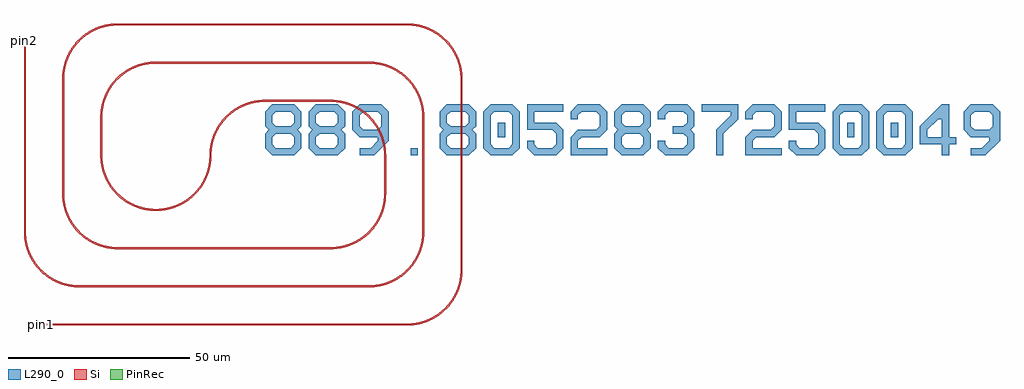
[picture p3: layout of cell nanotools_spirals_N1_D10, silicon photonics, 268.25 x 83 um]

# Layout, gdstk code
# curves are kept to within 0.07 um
import gdstk
lib = gdstk.Library(unit=1e-6, precision=1e-09)
def R(c, l, rs):  # rectangles x0, y0, x1, y1
    for r in rs: c.add(gdstk.rectangle(r[:2], r[2:], *l))
def P(c, l, *ps):  # polygons
    for p in ps: c.add(gdstk.Polygon(p, *l))
Si = (1, 0)
PinRec = (1, 10)
L290_0 = (290, 0)

nanotools_spirals_n1_d10 = lib.new_cell('nanotools_spirals_N1_D10')
R(nanotools_spirals_n1_d10, Si, [(-61.5,-46.75,39,-46.25), (-51,-36.25,28.5,-35.75), (53.75,-31.5,54.25,21), (-40.5,-25.75,18,-25.25), (-66.25,-21,-65.75,31.5), (43.25,-21,43.75,10.5), (-55.75,-10.5,-55.25,21), (32.75,-10.5,33.25,0), (-45.25,0,-44.75,10.5), (0,14.75,18,15.25), (-30,25.25,28.5,25.75), (-40.5,35.75,39,36.25)])
P(nanotools_spirals_n1_d10, Si, [(-15.25,0),(-15.178,1.483),(-14.961,2.952),(-14.603,4.394),(-14.107,5.793),(-13.477,7.138),(-12.718,8.414),(-11.84,9.612),(-10.849,10.718),(-9.755,11.722),(-8.569,12.615),(-7.138,13.477),(-5.793,14.107),(-4.394,14.603),(-2.952,14.961),(-1.483,15.178),(0,15.25),(0,14.75),(-1.613,14.662),(-3.032,14.435),(-4.592,14.017),(-6.098,13.431),(-7.219,12.863),(-8.436,12.1),(-9.435,11.338),(-10.366,10.493),(-11.222,9.573),(-12.1,8.436),(-12.863,7.219),(-13.431,6.098),(-14.017,4.592),(-14.435,3.032),(-14.662,1.613),(-14.75,0)],
  [(-30,-15.25),(-30,-14.75),(-28.387,-14.662),(-26.968,-14.435),(-25.408,-14.017),(-23.902,-13.431),(-22.781,-12.863),(-21.564,-12.1),(-20.565,-11.338),(-19.634,-10.493),(-18.778,-9.573),(-17.9,-8.436),(-17.137,-7.219),(-16.569,-6.098),(-15.983,-4.592),(-15.565,-3.032),(-15.338,-1.613),(-15.25,0),(-14.75,0),(-14.822,-1.483),(-15.039,-2.952),(-15.397,-4.394),(-15.893,-5.793),(-16.523,-7.138),(-17.282,-8.414),(-18.16,-9.612),(-19.151,-10.718),(-20.245,-11.722),(-21.431,-12.615),(-22.862,-13.477),(-24.207,-14.107),(-25.606,-14.603),(-27.048,-14.961),(-28.517,-15.178)],
  [(18,-25.75),(18,-25.25),(19.613,-25.162),(21.032,-24.935),(22.592,-24.517),(24.098,-23.931),(25.219,-23.363),(26.436,-22.6),(27.435,-21.838),(28.366,-20.993),(29.222,-20.073),(30.1,-18.936),(30.863,-17.719),(31.431,-16.598),(32.017,-15.092),(32.435,-13.532),(32.662,-12.113),(32.75,-10.5),(33.25,-10.5),(33.178,-11.983),(32.961,-13.452),(32.603,-14.894),(32.107,-16.293),(31.477,-17.638),(30.718,-18.914),(29.84,-20.112),(28.849,-21.218),(27.755,-22.222),(26.569,-23.115),(25.138,-23.977),(23.793,-24.607),(22.394,-25.103),(20.952,-25.461),(19.483,-25.678)],
  [(28.5,-36.25),(28.5,-35.75),(30.113,-35.662),(31.532,-35.435),(33.092,-35.017),(34.598,-34.431),(35.719,-33.863),(36.936,-33.1),(37.935,-32.338),(38.866,-31.493),(39.722,-30.573),(40.6,-29.436),(41.363,-28.219),(41.931,-27.098),(42.517,-25.592),(42.935,-24.032),(43.162,-22.613),(43.25,-21),(43.75,-21),(43.678,-22.483),(43.461,-23.952),(43.103,-25.394),(42.607,-26.793),(41.977,-28.138),(41.218,-29.414),(40.34,-30.612),(39.349,-31.718),(38.255,-32.722),(37.069,-33.615),(35.638,-34.477),(34.293,-35.107),(32.894,-35.603),(31.452,-35.961),(29.983,-36.178)],
  [(39,-46.75),(39,-46.25),(40.613,-46.162),(42.032,-45.935),(43.592,-45.517),(45.098,-44.931),(46.219,-44.363),(47.436,-43.6),(48.435,-42.838),(49.366,-41.993),(50.222,-41.073),(51.1,-39.936),(51.863,-38.719),(52.431,-37.598),(53.017,-36.092),(53.435,-34.532),(53.662,-33.113),(53.75,-31.5),(54.25,-31.5),(54.178,-32.983),(53.961,-34.452),(53.603,-35.894),(53.107,-37.293),(52.477,-38.638),(51.718,-39.914),(50.84,-41.112),(49.849,-42.218),(48.755,-43.222),(47.569,-44.115),(46.138,-44.977),(44.793,-45.607),(43.394,-46.103),(41.952,-46.461),(40.483,-46.678)],
  [(32.75,0),(32.68,1.435),(32.505,2.679),(32.175,4.077),(31.712,5.437),(31.118,6.744),(30.4,7.988),(29.564,9.156),(28.619,10.238),(27.573,11.222),(26.582,11.996),(25.375,12.774),(24.261,13.355),(22.762,13.96),(21.207,14.397),(19.613,14.662),(18,14.75),(18,15.25),(19.668,15.159),(21.134,14.924),(22.571,14.549),(23.964,14.035),(25.464,13.299),(26.722,12.51),(27.897,11.602),(28.979,10.585),(29.956,9.467),(30.92,8.102),(31.728,6.641),(32.372,5.099),(32.924,3.134),(33.209,1.113),(33.25,0)],
  [(43.25,10.5),(43.18,11.935),(43.005,13.179),(42.675,14.577),(42.212,15.937),(41.618,17.244),(40.9,18.488),(40.064,19.656),(39.119,20.738),(38.073,21.722),(37.082,22.496),(35.875,23.274),(34.761,23.855),(33.262,24.46),(31.707,24.897),(30.113,25.162),(28.5,25.25),(28.5,25.75),(30.168,25.659),(31.634,25.424),(33.071,25.049),(34.464,24.535),(35.964,23.799),(37.222,23.01),(38.397,22.102),(39.479,21.085),(40.456,19.967),(41.42,18.602),(42.228,17.141),(42.872,15.599),(43.424,13.634),(43.709,11.613),(43.75,10.5)],
  [(53.75,21),(53.68,22.435),(53.505,23.679),(53.175,25.077),(52.712,26.437),(52.118,27.744),(51.4,28.988),(50.564,30.156),(49.619,31.238),(48.573,32.222),(47.582,32.996),(46.375,33.774),(45.261,34.355),(43.762,34.96),(42.207,35.397),(40.613,35.662),(39,35.75),(39,36.25),(40.668,36.159),(42.134,35.924),(43.571,35.549),(44.964,35.035),(46.464,34.299),(47.722,33.51),(48.897,32.602),(49.979,31.585),(50.956,30.467),(51.92,29.102),(52.728,27.641),(53.372,26.099),(53.924,24.134),(54.209,22.113),(54.25,21)],
  [(-45.25,10.5),(-45.178,11.983),(-44.961,13.452),(-44.603,14.894),(-44.107,16.293),(-43.477,17.638),(-42.718,18.914),(-41.84,20.112),(-40.849,21.218),(-39.755,22.222),(-38.569,23.115),(-37.138,23.977),(-35.793,24.607),(-34.394,25.103),(-32.952,25.461),(-31.483,25.678),(-30,25.75),(-30,25.25),(-31.613,25.162),(-33.032,24.935),(-34.592,24.517),(-36.098,23.931),(-37.219,23.363),(-38.436,22.6),(-39.435,21.838),(-40.366,20.993),(-41.222,20.073),(-42.1,18.936),(-42.863,17.719),(-43.431,16.598),(-44.017,15.092),(-44.435,13.532),(-44.662,12.113),(-44.75,10.5)],
  [(-55.75,21),(-55.678,22.483),(-55.461,23.952),(-55.103,25.394),(-54.607,26.793),(-53.977,28.138),(-53.218,29.414),(-52.34,30.612),(-51.349,31.718),(-50.255,32.722),(-49.069,33.615),(-47.638,34.477),(-46.293,35.107),(-44.894,35.603),(-43.452,35.961),(-41.983,36.178),(-40.5,36.25),(-40.5,35.75),(-42.113,35.662),(-43.532,35.435),(-45.092,35.017),(-46.598,34.431),(-47.719,33.863),(-48.936,33.1),(-49.935,32.338),(-50.866,31.493),(-51.722,30.573),(-52.6,29.436),(-53.363,28.219),(-53.931,27.098),(-54.517,25.592),(-54.935,24.032),(-55.162,22.613),(-55.25,21)],
  [(-30,-15.25),(-31.483,-15.178),(-32.952,-14.961),(-34.394,-14.603),(-35.793,-14.107),(-37.138,-13.477),(-38.414,-12.718),(-39.612,-11.84),(-40.718,-10.849),(-41.722,-9.755),(-42.615,-8.569),(-43.477,-7.138),(-44.107,-5.793),(-44.603,-4.394),(-44.961,-2.952),(-45.178,-1.483),(-45.25,0),(-44.75,0),(-44.662,-1.613),(-44.435,-3.032),(-44.017,-4.592),(-43.431,-6.098),(-42.863,-7.219),(-42.1,-8.436),(-41.338,-9.435),(-40.493,-10.366),(-39.573,-11.222),(-38.436,-12.1),(-37.219,-12.863),(-36.098,-13.431),(-34.592,-14.017),(-33.032,-14.435),(-31.613,-14.662),(-30,-14.75)],
  [(-40.5,-25.75),(-41.983,-25.678),(-43.452,-25.461),(-44.894,-25.103),(-46.293,-24.607),(-47.638,-23.977),(-48.914,-23.218),(-50.112,-22.34),(-51.218,-21.349),(-52.222,-20.255),(-53.115,-19.069),(-53.977,-17.638),(-54.607,-16.293),(-55.103,-14.894),(-55.461,-13.452),(-55.678,-11.983),(-55.75,-10.5),(-55.25,-10.5),(-55.162,-12.113),(-54.935,-13.532),(-54.517,-15.092),(-53.931,-16.598),(-53.363,-17.719),(-52.6,-18.936),(-51.838,-19.935),(-50.993,-20.866),(-50.073,-21.722),(-48.936,-22.6),(-47.719,-23.363),(-46.598,-23.931),(-45.092,-24.517),(-43.532,-24.935),(-42.113,-25.162),(-40.5,-25.25)],
  [(-51,-36.25),(-52.483,-36.178),(-53.952,-35.961),(-55.394,-35.603),(-56.793,-35.107),(-58.138,-34.477),(-59.414,-33.718),(-60.612,-32.84),(-61.718,-31.849),(-62.722,-30.755),(-63.615,-29.569),(-64.477,-28.138),(-65.107,-26.793),(-65.603,-25.394),(-65.961,-23.952),(-66.178,-22.483),(-66.25,-21),(-65.75,-21),(-65.662,-22.613),(-65.435,-24.032),(-65.017,-25.592),(-64.431,-27.098),(-63.863,-28.219),(-63.1,-29.436),(-62.338,-30.435),(-61.493,-31.366),(-60.573,-32.222),(-59.436,-33.1),(-58.219,-33.863),(-57.098,-34.431),(-55.592,-35.017),(-54.032,-35.435),(-52.613,-35.662),(-51,-35.75)])
R(nanotools_spirals_n1_d10, L290_0, [(40,0,42,2), (64,5,66,9), (160,5,162,9), (172,5,174,9)])
P(nanotools_spirals_n1_d10, L290_0, [(2,0),(0,2),(0,6),(1,7),(0,8),(0,12),(2,14),(8,14),(10,12),(3,12),(2,11),(2,9),(3,8),(7,8),(8,9),(8,11),(7,12),(10,12),(10,8),(9,7),(10,6),(3,6),(2,5),(2,3),(3,2),(7,2),(8,3),(8,5),(7,6),(10,6),(10,2),(8,0)],
  [(14,0),(12,2),(12,6),(13,7),(12,8),(12,12),(14,14),(20,14),(22,12),(15,12),(14,11),(14,9),(15,8),(19,8),(20,9),(20,11),(19,12),(22,12),(22,8),(21,7),(22,6),(15,6),(14,5),(14,3),(15,2),(19,2),(20,3),(20,5),(19,6),(22,6),(22,2),(20,0)],
  [(26,0),(26,2),(29,2),(31,4),(31,5),(26,5),(24,7),(31,7),(32,8),(32,11),(31,12),(27,12),(26,11),(26,8),(27,7),(24,7),(24,12),(26,14),(32,14),(34,12),(34,4),(30,0)],
  [(50,0),(48,2),(48,6),(49,7),(48,8),(48,12),(50,14),(56,14),(58,12),(51,12),(50,11),(50,9),(51,8),(55,8),(56,9),(56,11),(55,12),(58,12),(58,8),(57,7),(58,6),(51,6),(50,5),(50,3),(51,2),(55,2),(56,3),(56,5),(55,6),(58,6),(58,2),(56,0)],
  [(62,0),(60,2),(60,12),(62,14),(68,14),(70,12),(63,12),(62,11),(62,3),(63,2),(67,2),(68,3),(68,11),(67,12),(70,12),(70,2),(68,0)],
  [(74,0),(72,2),(72,4),(74,4),(74,3),(75,2),(79,2),(80,3),(80,6),(79,7),(72,7),(72,14),(82,14),(82,12),(74,12),(74,9),(80,9),(82,7),(82,2),(80,0)],
  [(84,0),(84,5),(86,7),(91,7),(92,8),(92,11),(91,12),(87,12),(86,11),(86,10),(84,10),(84,12),(86,14),(92,14),(94,12),(94,7),(92,5),(87,5),(86,4),(86,2),(94,2),(94,0)],
  [(98,0),(96,2),(96,6),(97,7),(96,8),(96,12),(98,14),(104,14),(106,12),(99,12),(98,11),(98,9),(99,8),(103,8),(104,9),(104,11),(103,12),(106,12),(106,8),(105,7),(106,6),(99,6),(98,5),(98,3),(99,2),(103,2),(104,3),(104,5),(103,6),(106,6),(106,2),(104,0)],
  [(110,0),(108,2),(108,4),(110,4),(110,3),(111,2),(115,2),(116,3),(116,5),(115,6),(112,6),(112,8),(115,8),(116,9),(116,11),(115,12),(111,12),(110,11),(110,10),(108,10),(108,12),(110,14),(116,14),(118,12),(118,8),(117,7),(118,6),(118,2),(116,0)],
  [(124,0),(124,7),(128,11),(128,12),(120,12),(120,14),(130,14),(130,10),(126,6),(126,0)],
  [(132,0),(132,5),(134,7),(139,7),(140,8),(140,11),(139,12),(135,12),(134,11),(134,10),(132,10),(132,12),(134,14),(140,14),(142,12),(142,7),(140,5),(135,5),(134,4),(134,2),(142,2),(142,0)],
  [(146,0),(144,2),(144,4),(146,4),(146,3),(147,2),(151,2),(152,3),(152,6),(151,7),(144,7),(144,14),(154,14),(154,12),(146,12),(146,9),(152,9),(154,7),(154,2),(152,0)],
  [(158,0),(156,2),(156,12),(158,14),(164,14),(166,12),(159,12),(158,11),(158,3),(159,2),(163,2),(164,3),(164,11),(163,12),(166,12),(166,2),(164,0)],
  [(170,0),(168,2),(168,12),(170,14),(176,14),(178,12),(171,12),(170,11),(170,3),(171,2),(175,2),(176,3),(176,11),(175,12),(178,12),(178,2),(176,0)],
  [(186,0),(186,3),(180,3),(180,5),(186,5),(186,10),(185,10),(182,7),(182,5),(180,5),(180,8),(186,14),(188,14),(188,5),(190,5),(190,3),(188,3),(188,0)],
  [(194,0),(194,2),(197,2),(199,4),(199,5),(194,5),(192,7),(199,7),(200,8),(200,11),(199,12),(195,12),(194,11),(194,8),(195,7),(192,7),(192,12),(194,14),(200,14),(202,12),(202,4),(198,0)])
nanotools_spirals_n1_d10.add(gdstk.FlexPath([(-61.45,-46.5),(-61.55,-46.5)], 0.5, ends="flush", simple_path=True, layer=1, datatype=10))  # PinRec
nanotools_spirals_n1_d10.add(gdstk.FlexPath([(-66,31.45),(-66,31.55)], 0.5, ends="flush", simple_path=True, layer=1, datatype=10))  # PinRec
nanotools_spirals_n1_d10.add(gdstk.Label('pin1', (-61.5,-46.5), layer=1, texttype=10))
nanotools_spirals_n1_d10.add(gdstk.Label('pin2', (-66,31.5), layer=1, texttype=10))

lib.write_gds('nanotools_spirals_N1_D10.gds')
